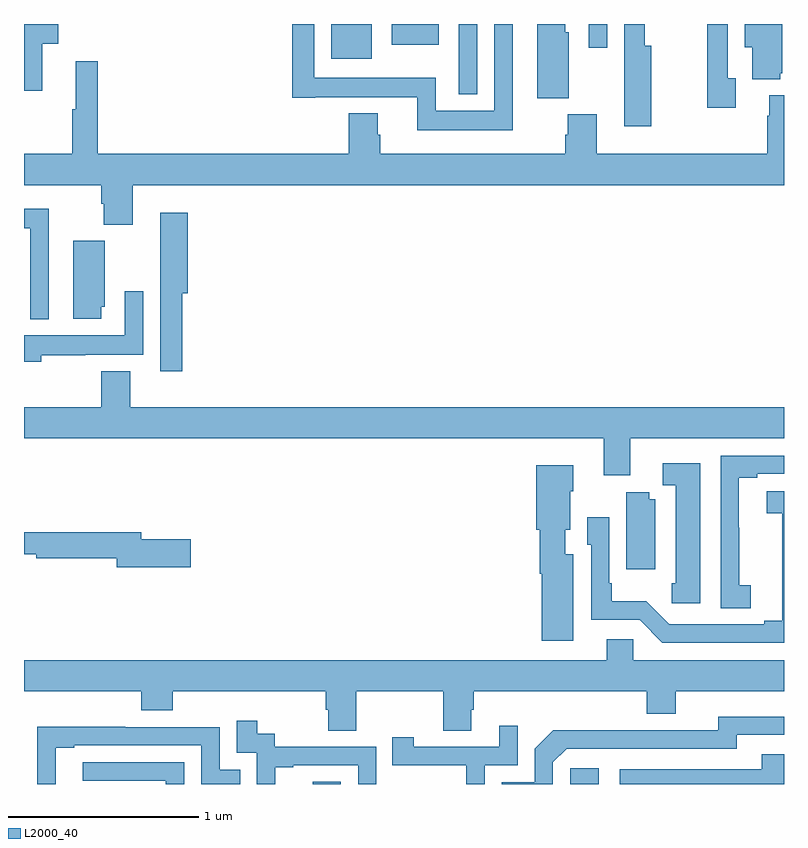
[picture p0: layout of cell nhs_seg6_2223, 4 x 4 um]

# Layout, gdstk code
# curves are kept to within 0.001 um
import gdstk
lib = gdstk.Library(unit=1e-6, precision=1e-09)
def R(c, l, rs):  # rectangles x0, y0, x1, y1
    for r in rs: c.add(gdstk.rectangle(r[:2], r[2:], *l))
def P(c, l, *ps):  # polygons
    for p in ps: c.add(gdstk.Polygon(p, *l))
L2000_40 = (2000, 40)

nhs_seg6_2223 = lib.new_cell('nhs_seg6_2223')
R(nhs_seg6_2223, L2000_40, [(244.521,961.5,244.668,961.513), (245.874,961.5,246.025,961.582), (245.289,965.129,245.385,965.5), (244.616,965.318,244.831,965.5), (245.973,965.376,246.069,965.5), (244.935,965.39,245.182,965.5)])
P(nhs_seg6_2223, L2000_40, [(246.745,965.214),(246.705,965.214),(246.705,965.5),(246.597,965.5),(246.597,965.058),(246.745,965.058)],
  [(243.095,965.396),(243.181,965.396),(243.181,965.5),(243,965.5),(243,965.148),(243.095,965.148)],
  [(245.866,965.457),(245.848,965.457),(245.848,965.5),(245.702,965.5),(245.702,965.11),(245.866,965.11)],
  [(245.572,965.5),(245.475,965.5),(245.475,965.044),(245.166,965.044),(245.166,965.218),(244.527,965.218),(244.527,965.5),(244.411,965.5),(244.411,965.112),(244.534,965.112),(244.534,965.114),(245.069,965.114),(245.069,964.94),(245.572,964.94)],
  [(246.98,965.241),(246.991,965.241),(246.991,965.5),(246.794,965.5),(246.794,965.378),(246.833,965.378),(246.833,965.21),(246.98,965.21)],
  [(246.3,965.386),(246.268,965.386),(246.268,965.5),(246.159,965.5),(246.159,965.282),(246.158,965.282),(246.158,964.962),(246.3,964.962)],
  [(243.572,964.652),(247,964.652),(247,965.125),(246.923,965.125),(246.923,965.018),(246.911,965.018),(246.911,964.816),(246.014,964.816),(246.014,965.025),(245.861,965.025),(245.861,964.916),(245.849,964.916),(245.849,964.816),(244.874,964.816),(244.874,964.917),(244.861,964.917),(244.861,965.029),(244.709,965.029),(244.709,964.816),(243.389,964.816),(243.389,965.305),(243.272,965.305),(243.272,965.052),(243.253,965.052),(243.253,964.816),(243,964.816),(243,964.652),(243.407,964.652),(243.407,964.553),(243.419,964.553),(243.419,964.444),(243.572,964.444)],
  [(243.13,964.528),(243,964.528),(243,964.424),(243.033,964.424),(243.033,963.947),(243.13,963.947)],
  [(243.833,964.082),(243.863,964.082),(243.863,964.507),(243.716,964.507),(243.716,964.186),(243.717,964.186),(243.717,963.672),(243.833,963.672)],
  [(243.406,964.011),(243.424,964.011),(243.424,964.359),(243.26,964.359),(243.26,963.948),(243.406,963.948)],
  [(243.092,963.756),(243.323,963.756),(243.323,963.758),(243.627,963.758),(243.627,964.093),(243.531,964.093),(243.531,963.862),(243,963.862),(243,963.722),(243.092,963.722)],
  [(246.19,963.32),(247,963.32),(247,963.484),(243.559,963.484),(243.559,963.673),(243.407,963.673),(243.407,963.484),(243,963.484),(243,963.32),(246.05,963.32),(246.05,963.126),(246.19,963.126)],
  [(246.826,962.545),(246.765,962.545),(246.765,962.849),(246.763,962.849),(246.763,963.112),(246.859,963.112),(246.859,963.132),(247,963.132),(247,963.228),(246.666,963.228),(246.666,962.425),(246.826,962.425)],
  [(246.559,963.187),(246.363,963.187),(246.363,963.072),(246.431,963.072),(246.431,962.556),(246.409,962.556),(246.409,962.451),(246.559,962.451)],
  [(245.89,962.71),(245.848,962.71),(245.848,962.838),(245.874,962.838),(245.874,963.042),(245.89,963.042),(245.89,963.178),(245.696,963.178),(245.696,962.838),(245.714,962.838),(245.714,962.606),(245.726,962.606),(245.726,962.253),(245.89,962.253)],
  [(247,963.041),(246.909,963.041),(246.909,962.926),(246.991,962.926),(246.992,962.36),(246.896,962.36),(246.896,962.34),(246.396,962.34),(246.275,962.461),(246.094,962.461),(246.094,962.557),(246.081,962.557),(246.081,962.905),(245.964,962.905),(245.964,962.76),(245.985,962.76),(245.985,962.364),(246.24,962.364),(246.36,962.244),(247,962.244)],
  [(246.322,962.998),(246.29,962.998),(246.29,963.035),(246.17,963.035),(246.17,962.631),(246.322,962.631)],
  [(243.877,962.789),(243.616,962.789),(243.616,962.825),(243,962.825),(243,962.709),(243.064,962.709),(243.064,962.689),(243.488,962.689),(243.488,962.642),(243.877,962.642)],
  [(243,961.988),(243.617,961.988),(243.617,961.889),(243.782,961.889),(243.782,961.988),(244.589,961.988),(244.589,961.89),(244.601,961.89),(244.601,961.78),(244.749,961.78),(244.749,961.988),(245.206,961.988),(245.206,961.78),(245.353,961.78),(245.353,961.89),(245.366,961.89),(245.366,961.988),(246.278,961.988),(246.278,961.871),(246.43,961.871),(246.43,961.988),(247,961.988),(247,962.152),(246.207,962.152),(246.207,962.262),(246.068,962.262),(246.068,962.152),(243,962.152)],
  [(245.784,961.614),(245.856,961.686),(246.75,961.686),(246.75,961.758),(247,961.758),(247,961.855),(246.654,961.855),(246.654,961.782),(246.194,961.782),(246.194,961.784),(245.786,961.784),(245.688,961.686),(245.688,961.509),(245.514,961.509),(245.514,961.5),(245.784,961.5)],
  [(244.322,961.587),(244.417,961.587),(244.417,961.599),(244.758,961.599),(244.758,961.5),(244.854,961.5),(244.854,961.695),(244.32,961.695),(244.32,961.764),(244.228,961.764),(244.228,961.834),(244.119,961.834),(244.119,961.665),(244.224,961.665),(244.224,961.5),(244.322,961.5)],
  [(245.424,961.599),(245.598,961.599),(245.598,961.807),(245.501,961.807),(245.501,961.695),(245.05,961.695),(245.05,961.747),(244.939,961.747),(244.939,961.599),(245.328,961.599),(245.328,961.5),(245.424,961.5)],
  [(243.168,961.692),(243.265,961.692),(243.265,961.704),(243.933,961.704),(243.933,961.5),(244.139,961.5),(244.139,961.575),(244.029,961.575),(244.029,961.8),(243.533,961.8),(243.533,961.802),(243.07,961.802),(243.07,961.5),(243.168,961.5)],
  [(247,961.657),(246.883,961.657),(246.883,961.578),(246.135,961.578),(246.135,961.5),(247,961.5)],
  [(243.843,961.614),(243.309,961.614),(243.309,961.518),(243.747,961.518),(243.747,961.5),(243.843,961.5)])

lib.write_gds('nhs_seg6_2223.gds')
